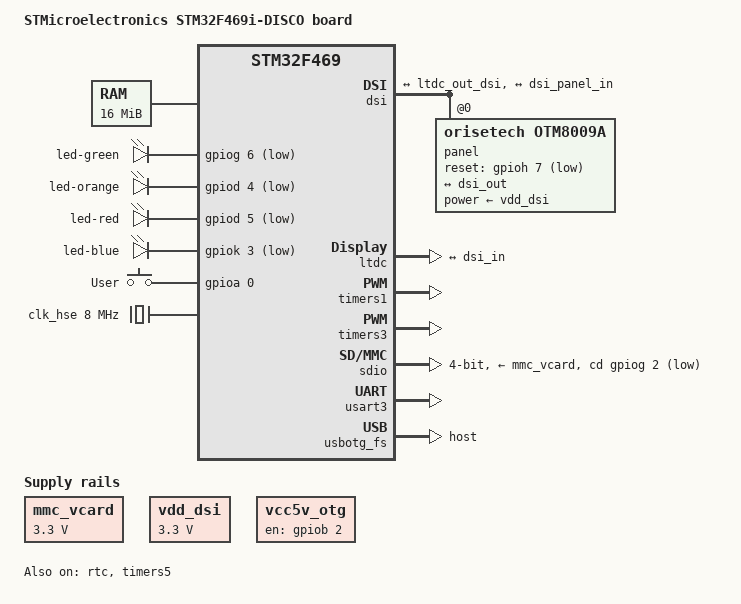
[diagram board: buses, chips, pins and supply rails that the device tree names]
// SPDX-License-Identifier: GPL-2.0+ OR X11
/*
 * Copyright 2016 - Lee Jones <lee.jones@linaro.org>
 *
 */

/dts-v1/;
#include "stm32f469.dtsi"
#include "stm32f469-pinctrl.dtsi"
#include <dt-bindings/gpio/gpio.h>
#include <dt-bindings/input/input.h>

/ {
	model = "STMicroelectronics STM32F469i-DISCO board";
	compatible = "st,stm32f469i-disco", "st,stm32f469";

	chosen {
		bootargs = "root=/dev/ram";
		stdout-path = "serial0:115200n8";
	};

	memory@0 {
		device_type = "memory";
		reg = <0x00000000 0x1000000>;
	};

	aliases {
		serial0 = &usart3;
	};

	mmc_vcard: mmc_vcard {
		compatible = "regulator-fixed";
		regulator-name = "mmc_vcard";
		regulator-min-microvolt = <3300000>;
		regulator-max-microvolt = <3300000>;
	};

	vdd_dsi: vdd-dsi {
		compatible = "regulator-fixed";
		regulator-name = "vdd_dsi";
		regulator-min-microvolt = <3300000>;
		regulator-max-microvolt = <3300000>;
	};

	soc {
		dma-ranges = <0xc0000000 0x0 0x10000000>;
	};

	leds {
		compatible = "gpio-leds";
		led-green {
			gpios = <&gpiog 6 GPIO_ACTIVE_LOW>;
			linux,default-trigger = "heartbeat";
		};
		led-orange {
			gpios = <&gpiod 4 GPIO_ACTIVE_LOW>;
		};
		led-red {
			gpios = <&gpiod 5 GPIO_ACTIVE_LOW>;
		};
		led-blue {
			gpios = <&gpiok 3 GPIO_ACTIVE_LOW>;
		};
	};

	gpio-keys {
		compatible = "gpio-keys";
		autorepeat;
		button-0 {
			label = "User";
			linux,code = <KEY_WAKEUP>;
			gpios = <&gpioa 0 GPIO_ACTIVE_HIGH>;
		};
	};

	/* This turns on vbus for otg for host mode (dwc2) */
	vcc5v_otg: vcc5v-otg-regulator {
		compatible = "regulator-fixed";
		enable-active-high;
		gpio = <&gpiob 2 GPIO_ACTIVE_HIGH>;
		regulator-name = "vcc5_host1";
		regulator-always-on;
	};
};

&rcc {
	compatible = "st,stm32f469-rcc", "st,stm32f42xx-rcc", "st,stm32-rcc";
};

&clk_hse {
	clock-frequency = <8000000>;
};

&dma2d {
	status = "okay";
};

&dsi {
	#address-cells = <1>;
	#size-cells = <0>;
	status = "okay";

	ports {
		#address-cells = <1>;
		#size-cells = <0>;

		port@0 {
			reg = <0>;
			dsi_in: endpoint {
				remote-endpoint = <&ltdc_out_dsi>;
			};
		};

		port@1 {
			reg = <1>;
			dsi_out: endpoint {
				remote-endpoint = <&dsi_panel_in>;
			};
		};
	};

	panel@0 {
		compatible = "orisetech,otm8009a";
		reg = <0>; /* dsi virtual channel (0..3) */
		reset-gpios = <&gpioh 7 GPIO_ACTIVE_LOW>;
		power-supply = <&vdd_dsi>;
		status = "okay";

		port {
			dsi_panel_in: endpoint {
				remote-endpoint = <&dsi_out>;
			};
		};
	};
};

&ltdc {
	status = "okay";

	port {
		ltdc_out_dsi: endpoint {
			remote-endpoint = <&dsi_in>;
		};
	};
};

&rtc {
	status = "okay";
};

&timers1 {
	status = "okay";

	pwm {
		pinctrl-0 = <&pwm1_pins>;
		pinctrl-names = "default";
		status = "okay";
	};

	timer@0 {
		status = "okay";
	};
};

&timers3 {
	status = "okay";

	pwm {
		pinctrl-0 = <&pwm3_pins>;
		pinctrl-names = "default";
		status = "okay";
	};

	timer@2 {
		status = "okay";
	};
};

&sdio {
	status = "okay";
	vmmc-supply = <&mmc_vcard>;
	cd-gpios = <&gpiog 2 GPIO_ACTIVE_LOW>;
	broken-cd;
	pinctrl-names = "default", "opendrain";
	pinctrl-0 = <&sdio_pins>;
	pinctrl-1 = <&sdio_pins_od>;
	bus-width = <4>;
};

&timers5 {
	/* Override timer5 to act as clockevent */
	compatible = "st,stm32-timer";
	interrupts = <50>;
	status = "okay";
	/delete-property/#address-cells;
	/delete-property/#size-cells;
	/delete-property/clock-names;
	/delete-node/pwm;
	/delete-node/timer@4;
};

&usart3 {
	pinctrl-0 = <&usart3_pins_a>;
	pinctrl-names = "default";
	status = "okay";
};

&usbotg_fs {
	dr_mode = "host";
	pinctrl-0 = <&usbotg_fs_pins_a>;
	pinctrl-names = "default";
	status = "okay";
};
